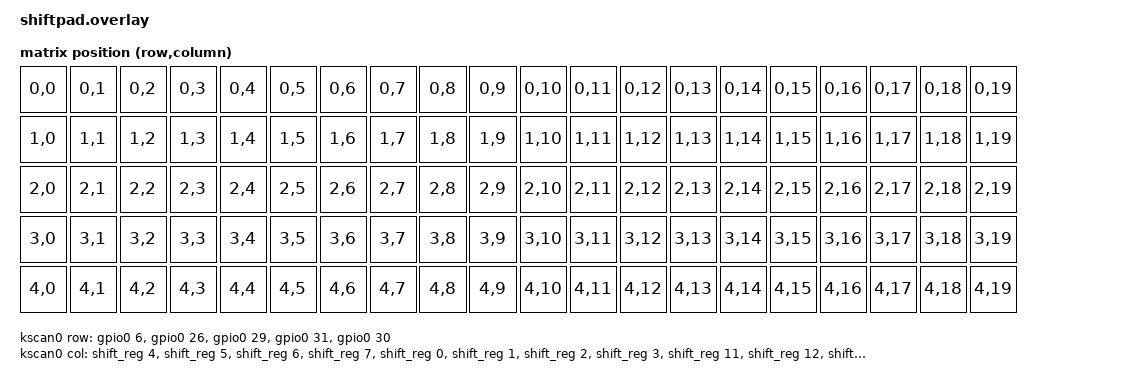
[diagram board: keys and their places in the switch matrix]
#include <dt-bindings/zmk/matrix_transform.h>
#include <dt-bindings/zmk/keys.h>
#include <zephyr/dt-bindings/pinctrl/nrf-pinctrl.h>

/ {
    chosen {
        zmk,kscan = &kscan0;
        zmk,matrix_transform = &default_transform;
    };

    // 5行 x 20列 矩阵，全量填满，防止编译器报错
    default_transform: keymap_transform_0 {
        compatible = "zmk,matrix-transform";
        columns = <20>;
        rows = <5>;
        map = <
            RC(0,0) RC(0,1) RC(0,2) RC(0,3) RC(0,4) RC(0,5) RC(0,6) RC(0,7) RC(0,8) RC(0,9) RC(0,10) RC(0,11) RC(0,12) RC(0,13) RC(0,14) RC(0,15) RC(0,16) RC(0,17) RC(0,18) RC(0,19)
            RC(1,0) RC(1,1) RC(1,2) RC(1,3) RC(1,4) RC(1,5) RC(1,6) RC(1,7) RC(1,8) RC(1,9) RC(1,10) RC(1,11) RC(1,12) RC(1,13) RC(1,14) RC(1,15) RC(1,16) RC(1,17) RC(1,18) RC(1,19)
            RC(2,0) RC(2,1) RC(2,2) RC(2,3) RC(2,4) RC(2,5) RC(2,6) RC(2,7) RC(2,8) RC(2,9) RC(2,10) RC(2,11) RC(2,12) RC(2,13) RC(2,14) RC(2,15) RC(2,16) RC(2,17) RC(2,18) RC(2,19)
            RC(3,0) RC(3,1) RC(3,2) RC(3,3) RC(3,4) RC(3,5) RC(3,6) RC(3,7) RC(3,8) RC(3,9) RC(3,10) RC(3,11) RC(3,12) RC(3,13) RC(3,14) RC(3,15) RC(3,16) RC(3,17) RC(3,18) RC(3,19)
            RC(4,0) RC(4,1) RC(4,2) RC(4,3) RC(4,4) RC(4,5) RC(4,6) RC(4,7) RC(4,8) RC(4,9) RC(4,10) RC(4,11) RC(4,12) RC(4,13) RC(4,14) RC(4,15) RC(4,16) RC(4,17) RC(4,18) RC(4,19)
        >;
    };

    kscan0: kscan_0 {
        compatible = "zmk,kscan-gpio-matrix";
        diode-direction = "col2row";

        col-gpios = 
            <&shift_reg 4 GPIO_ACTIVE_HIGH>,  // COL0
            <&shift_reg 5 GPIO_ACTIVE_HIGH>,  // COL1
            <&shift_reg 6 GPIO_ACTIVE_HIGH>,  // COL2
            <&shift_reg 7 GPIO_ACTIVE_HIGH>,  // COL3
            <&shift_reg 0 GPIO_ACTIVE_HIGH>,  // COL4
            <&shift_reg 1 GPIO_ACTIVE_HIGH>,  // COL5
            <&shift_reg 2 GPIO_ACTIVE_HIGH>,  // COL6
            <&shift_reg 3 GPIO_ACTIVE_HIGH>,  // COL7
            <&shift_reg 11 GPIO_ACTIVE_HIGH>, // COL8
            <&shift_reg 12 GPIO_ACTIVE_HIGH>, // COL9
            <&shift_reg 13 GPIO_ACTIVE_HIGH>, // COL10
            <&shift_reg 14 GPIO_ACTIVE_HIGH>, // COL11
            <&shift_reg 8 GPIO_ACTIVE_HIGH>,  // COL12
            <&shift_reg 9 GPIO_ACTIVE_HIGH>,  // COL13
            <&shift_reg 10 GPIO_ACTIVE_HIGH>, // COL14
            <&shift_reg 19 GPIO_ACTIVE_HIGH>, // COL15
            <&shift_reg 23 GPIO_ACTIVE_HIGH>, // COL16
            <&shift_reg 17 GPIO_ACTIVE_HIGH>, // COL17
            <&shift_reg 18 GPIO_ACTIVE_HIGH>, // COL18
            <&shift_reg 21 GPIO_ACTIVE_HIGH>; // COL19

        row-gpios = 
            <&gpio0 6 (GPIO_ACTIVE_HIGH | GPIO_PULL_DOWN)>,  // ROW0 = 14脚
            <&gpio0 26 (GPIO_ACTIVE_HIGH | GPIO_PULL_DOWN)>, // ROW1 = 12脚
            <&gpio0 29 (GPIO_ACTIVE_HIGH | GPIO_PULL_DOWN)>, // ROW2 = 10脚
            <&gpio0 31 (GPIO_ACTIVE_HIGH | GPIO_PULL_DOWN)>, // ROW3 = 9脚
            <&gpio0 30 (GPIO_ACTIVE_HIGH | GPIO_PULL_DOWN)>; // ROW4 = 8脚
    };

    // 主灯带：使用单独的 GPIO 模拟，不占用 SPI
    led_strip: led_strip {
        compatible = "worldsemi,ws2812-gpio";
        chain-length = <96>;
        gpios = <&gpio1 10 GPIO_ACTIVE_HIGH>; // 2脚 (P1.10)
    };

    // 电池检测
    vbatt {
        compatible = "zmk,battery-voltage-divider";
        io-channels = <&adc 3>; // AI3
        output-ohms = <100000>;
        full-ohms = <(200000 + 100000)>;
    };
};

&pinctrl {
    spi1_default: spi1_default {
        group1 {
            psels = <NRF_PSEL(SPIM_SCK, 0, 24)>,   // SR_CLK = 35脚
                    <NRF_PSEL(SPIM_MOSI, 0, 18)>;  // SR_DATA = 26脚
        };
    };
    spi1_sleep: spi1_sleep {
        group1 {
            psels = <NRF_PSEL(SPIM_SCK, 0, 24)>,
                    <NRF_PSEL(SPIM_MOSI, 0, 18)>;
            low-power-enable;
        };
    };
};

&spi1 {
    status = "okay";
    pinctrl-0 = <&spi1_default>;
    pinctrl-1 = <&spi1_sleep>;
    pinctrl-names = "default", "sleep";
    cs-gpios = <&gpio0 13 GPIO_ACTIVE_LOW>; // SR_LATCH = 33脚

    shift_reg: 74HC595@0 {
        compatible = "zmk,gpio-595";
        status = "okay";
        gpio-controller;
        spi-max-frequency = <1000000>;
        reg = <0>;
        #gpio-cells = <2>;
        ngpios = <24>; // 3片级联
    };
};
